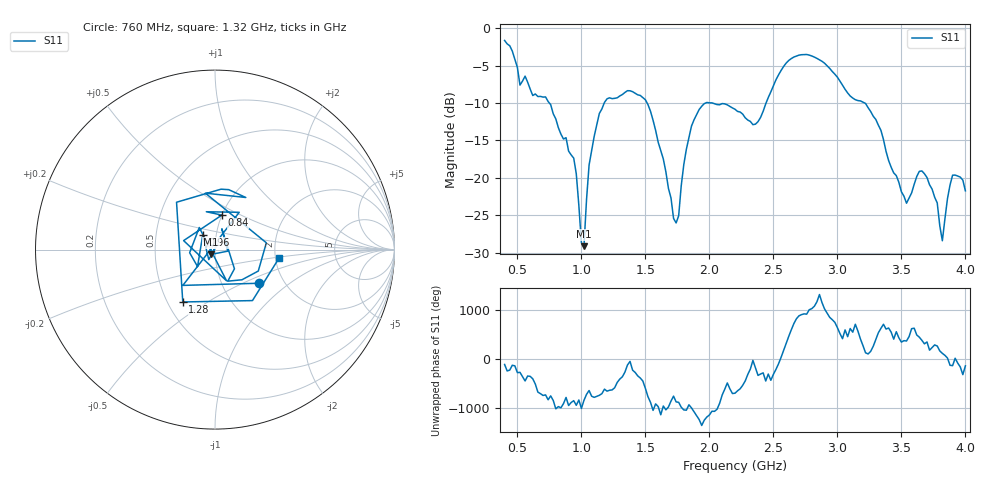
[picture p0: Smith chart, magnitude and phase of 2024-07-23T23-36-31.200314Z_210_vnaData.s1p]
!Created with skrf (http://scikit-rf.org).
# Hz S RI R 50.0
!freq ReS11 ImS11
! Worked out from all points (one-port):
!   181 points, 400 MHz to 4 GHz, reference 50 ohm
!   lowest |S11| = -29.1 dB at 1.02 GHz (marker M1), VSWR 1.07, Z = 47.8 - j2.59 ohm
!   |S11| at or under -10 dB: 749.6 MHz to 1.178 GHz (428.7 MHz wide, 44.5 % of centre); 1.514 GHz to 1.97 GHz (457 MHz wide, 26.2 % of centre); 3.214 GHz to end of sweep (the widest 3 of 4)
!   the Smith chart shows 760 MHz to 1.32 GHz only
!   S11 on the Smith chart (normalised r, x): 760 MHz: 1.49, -0.62; 840 MHz: 1.00, +0.40; 960 MHz: 0.86, +0.14; 1.28 GHz: 0.60, -0.40; 1.32 GHz: 2.10, -0.22
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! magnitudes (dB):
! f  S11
! 400 MHz  -1.6
! 520 MHz  -7.6
! 760 MHz  -10.2
! 840 MHz  -14.2
! 860 MHz  -14.8
! 960 MHz  -19.5
! 1 GHz  -28.7
! 1.02 GHz  -29.1
! 1.06 GHz  -18.3
! 1.1 GHz  -14.4
! 1.28 GHz  -9.3
! 1.3 GHz  -9.1
! 1.32 GHz  -8.9
! 1.52 GHz  -10.2
! 1.72 GHz  -25.4
! 1.76 GHz  -25.0
! 1.82 GHz  -16.2
! 1.92 GHz  -10.9
! 2.2 GHz  -10.8
! 2.36 GHz  -12.8
! 2.66 GHz  -3.9
! 3.1 GHz  -9.1
! 3.3 GHz  -12.2
! 3.56 GHz  -22.7
! 3.68 GHz  -19.4
! 3.82 GHz  -28.4
! 3.9 GHz  -19.6
! 4 GHz  -21.7
